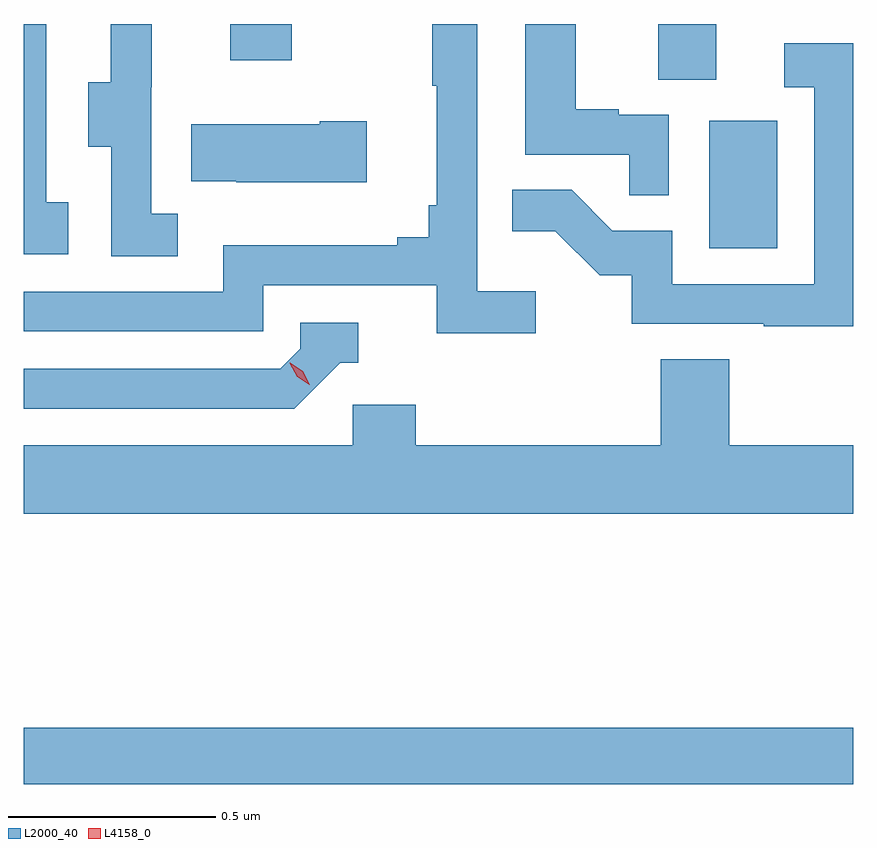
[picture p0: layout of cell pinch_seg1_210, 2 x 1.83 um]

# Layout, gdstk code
import gdstk
lib = gdstk.Library(unit=1e-6, precision=1e-09)
def R(c, l, rs):  # rectangles x0, y0, x1, y1
    for r in rs: c.add(gdstk.rectangle(r[:2], r[2:], *l))
def P(c, l, *ps):  # polygons
    for p in ps: c.add(gdstk.Polygon(p, *l))
L2000_40 = (2000, 40)
L4158_0 = (4158, 0)

pinch_seg1_210 = lib.new_cell('pinch_seg1_210')
R(pinch_seg1_210, L2000_40, [(992.657,580.384,994.657,580.52), (994.31,581.676,994.474,581.983), (994.187,582.082,994.327,582.216), (993.155,582.129,993.303,582.216)])
P(pinch_seg1_210, L2000_40, [(994.212,581.997),(994.091,581.997),(994.091,582.01),(993.988,582.01),(993.988,582.216),(993.866,582.216),(993.866,581.901),(994.117,581.901),(994.117,581.803),(994.212,581.803)],
  [(993.892,581.572),(993.75,581.572),(993.75,582.216),(993.642,582.216),(993.642,582.067),(993.653,582.067),(993.653,581.779),(993.634,581.779),(993.634,581.702),(993.557,581.702),(993.557,581.683),(993.138,581.683),(993.138,581.571),(992.657,581.571),(992.657,581.475),(993.234,581.475),(993.234,581.586),(993.653,581.586),(993.653,581.47),(993.892,581.47)],
  [(993.028,581.759),(992.964,581.759),(992.964,582.063),(992.966,582.063),(992.966,582.216),(992.867,582.216),(992.867,582.075),(992.813,582.075),(992.813,581.92),(992.868,581.92),(992.868,581.656),(993.028,581.656)],
  [(992.764,581.786),(992.712,581.786),(992.712,582.216),(992.657,582.216),(992.657,581.661),(992.764,581.661)],
  [(994.657,582.169),(994.491,582.169),(994.491,582.063),(994.563,582.063),(994.563,581.589),(994.221,581.589),(994.221,581.718),(994.076,581.718),(993.978,581.816),(993.835,581.816),(993.835,581.717),(993.939,581.717),(994.046,581.61),(994.123,581.61),(994.123,581.493),(994.441,581.493),(994.441,581.488),(994.657,581.488)],
  [(993.484,581.982),(993.371,581.982),(993.371,581.974),(993.061,581.974),(993.061,581.837),(993.169,581.837),(993.169,581.834),(993.484,581.834)],
  [(993.42,581.4),(993.463,581.4),(993.463,581.496),(993.324,581.496),(993.324,581.433),(993.276,581.385),(992.657,581.385),(992.657,581.289),(993.309,581.289)],
  [(994.657,581.2),(994.358,581.2),(994.358,581.408),(994.193,581.408),(994.193,581.2),(993.602,581.2),(993.602,581.298),(993.45,581.298),(993.45,581.2),(992.657,581.2),(992.657,581.036),(994.657,581.036)])
P(pinch_seg1_210, L4158_0, [(993.346,581.346),(993.316,581.366),(993.299,581.398),(993.299,581.399),(993.3,581.399),(993.33,581.379),(993.347,581.346),(993.347,581.346)])

lib.write_gds('pinch_seg1_210.gds')
